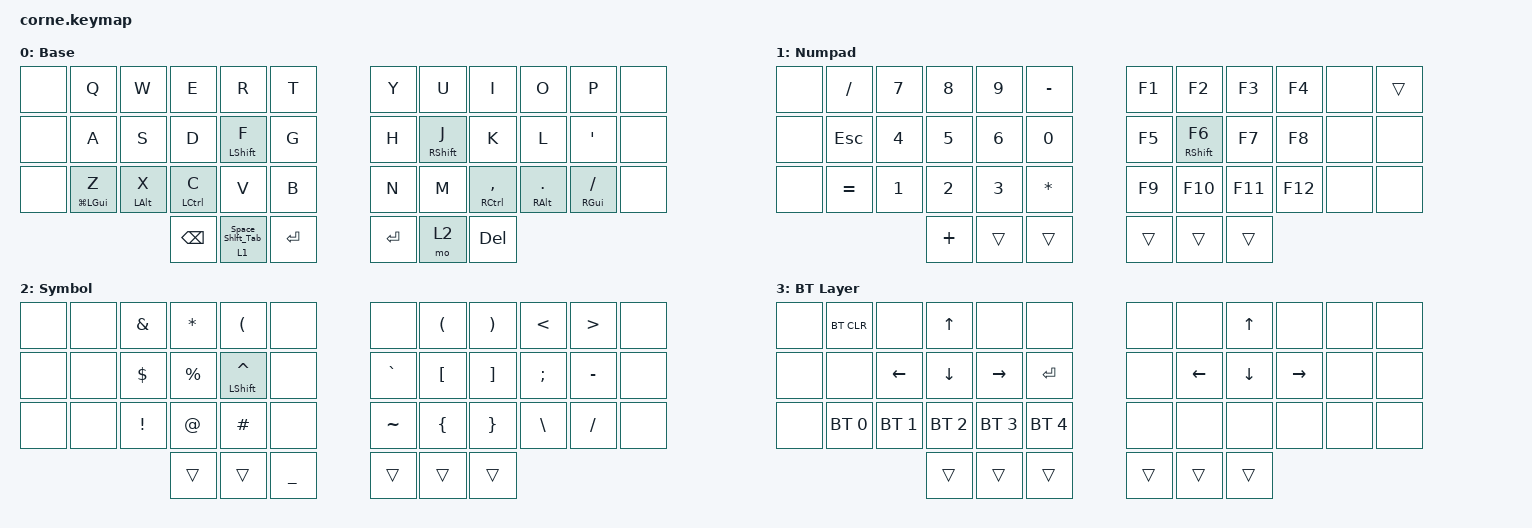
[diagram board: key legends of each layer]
/*
 * Copyright (c) 2020 The ZMK Contributors
 *
 * SPDX-License-Identifier: MIT
 */

#include <behaviors.dtsi>
#include <dt-bindings/zmk/bt.h>
#include <dt-bindings/zmk/keys.h>

/ {
    behaviors {
        sk_hold: sk_hold {
            compatible = "zmk,behavior-hold-tap";
            label = "SK_HOLD";
            bindings = <&sk>, <&kp>;

            #binding-cells = <2>;
            hold-trigger-key-positions = <36 37 40 41 39 24 12 0 35 23 11 38 1 2 3 4 5 6 7 8 9 10 11 13 14 15 16 17 18 19 20 21 22 23 25 26 27 28 29 30 31 32 33 34 35 36 37 38 39 40 41>;
            tapping-term-ms = <250>;
            flavor = "tap-preferred";
        };

        kp_layer_hold: kp_layer_hold {
            compatible = "zmk,behavior-hold-tap";
            label = "KP_LAYER_HOLD";
            bindings = <&mo>, <&Space_Shlft_Tab>;

            #binding-cells = <2>;
            hold-trigger-key-positions = <36 37 40 41 39 24 12 0 35 23 11 38 1 2 3 4 5 6 7 8 9 10 11 13 14 15 16 17 18 19 20 21 22 23 25 26 27 28 29 30 31 32 33 34 35 36 37 38 39 40 41>;
            tapping-term-ms = <250>;
        };

        Space_Shlft_Tab: Space_Shlft_Tab {
            compatible = "zmk,behavior-mod-morph";
            label = "SPACE_SHLFT_TAB";
            bindings = <&kp SPACE>, <&kp TAB>;

            #binding-cells = <0>;
            mods = <(MOD_LSFT)>;
        };
    };

    combos {
        compatible = "zmk,combos";

        Base {
            bindings = <&to 0>;
            key-positions = <16 37>;
        };

        Numpad {
            bindings = <&to 1>;
            key-positions = <15 37>;
        };

        Layer_2 {
            bindings = <&to 2>;
            key-positions = <14 37>;
        };

        Layer_3 {
            bindings = <&to 3>;
            key-positions = <13 37>;
        };
    };

    keymap {
        compatible = "zmk,keymap";

        base {
            // -----------------------------------------------------------------------------------------
            // |  TAB |  Q  |  W  |  E  |  R  |  T  |   |  Y  |  U   |  I  |  O  |  P  | BKSP |
            // | CTRL |  A  |  S  |  D  |  F  |  G  |   |  H  |  J   |  K  |  L  |  ;  |  '   |
            // | SHFT |  Z  |  X  |  C  |  V  |  B  |   |  N  |  M   |  ,  |  .  |  /  | ESC  |
            //                    | GUI | LWR | SPC |   | ENT | RSE  | ALT |

            bindings = <
&none  &kp Q                    &kp W                &kp E                    &kp R                  &kp T        &kp Y      &kp U                   &kp I                         &kp O                      &kp P                     &none
&none  &kp A                    &kp S                &kp D                    &sk_hold LEFT_SHIFT F  &kp G        &kp H      &sk_hold RIGHT_SHIFT J  &kp K                         &kp L                      &kp SQT                   &none
&none  &sk_hold LG(LEFT_GUI) Z  &sk_hold LEFT_ALT X  &sk_hold LEFT_CONTROL C  &kp V                  &kp B        &kp N      &kp M                   &sk_hold RIGHT_CONTROL COMMA  &sk_hold RIGHT_ALT PERIOD  &sk_hold RIGHT_GUI SLASH  &none
                                                     &kp BACKSPACE            &kp_layer_hold 1 0     &kp ENTER    &kp ENTER  &mo 2                   &kp DEL
            >;

            label = "Base";
        };

        Numpad {
            bindings = <
&none  &kp SLASH   &kp N7        &kp N8    &kp N9  &kp MINUS       &kp F1  &kp F2                   &kp F3   &kp F4   &none  &trans
&none  &kp ESCAPE  &kp N4        &kp N5    &kp N6  &kp N0          &kp F5  &sk_hold RIGHT_SHIFT F6  &kp F7   &kp F8   &none  &none
&none  &kp EQUAL   &kp NUMBER_1  &kp N2    &kp N3  &kp ASTERISK    &kp F9  &kp F10                  &kp F11  &kp F12  &none  &none
                                 &kp PLUS  &trans  &trans          &trans  &trans                   &trans
            >;

            label = "Numpad";
        };

        Symbol {
            // -----------------------------------------------------------------------------------------
            // |  TAB |  !  |  @  |  #  |  $  |  %  |   |  ^  |  &  |  *  |  (  |  )  | BKSP |
            // | CTRL |     |     |     |     |     |   |  -  |  =  |  [  |  ]  |  \  |  `   |
            // | SHFT |     |     |     |     |     |   |  _  |  +  |  {  |  }  | "|" |  ~   |
            //                    | GUI |     | SPC |   | ENT |     | ALT |

            bindings = <
&none  &none  &kp AMPS    &kp ASTERISK  &kp LEFT_PARENTHESIS  &none        &none      &kp LEFT_PARENTHESIS  &kp RIGHT_PARENTHESIS  &kp LESS_THAN  &kp GREATER_THAN  &none
&none  &none  &kp DOLLAR  &kp PERCENT   &sk_hold LSHFT CARET  &none        &kp GRAVE  &kp LEFT_BRACKET      &kp RIGHT_BRACKET      &kp SEMI       &kp MINUS         &none
&none  &none  &kp EXCL    &kp AT        &kp HASH              &none        &kp TILDE  &kp LEFT_BRACE        &kp RIGHT_BRACE        &kp BACKSLASH  &kp SLASH         &none
                          &trans        &trans                &kp UNDER    &trans     &trans                &trans
            >;

            label = "Symbol";
        };

        Bluetooth {
            // -----------------------------------------------------------------------------------------
            // |  TAB |  1  |  2  |  3  |  4  |  5  |   |  6  |  7  |  8  |  9  |  0  | BKSP |
            // | BTCLR| BT1 | BT2 | BT3 | BT4 | BT5 |   | LFT | DWN |  UP | RGT |     |      |
            // | SHFT |     |     |     |     |     |   |     |     |     |     |     |      |
            //                    | GUI |     | SPC |   | ENT |     | ALT |

            bindings = <
&none  &bt BT_CLR    &none         &kp UP_ARROW    &none         &none           &none   &none     &kp UP_ARROW  &none      &none  &none
&none  &none         &kp LEFT      &kp DOWN_ARROW  &kp RIGHT     &kp ENTER       &none   &kp LEFT  &kp DOWN      &kp RIGHT  &none  &none
&none  &bt BT_SEL 0  &bt BT_SEL 1  &bt BT_SEL 2    &bt BT_SEL 3  &bt BT_SEL 4    &none   &none     &none         &none      &none  &none
                                   &trans          &trans        &trans          &trans  &trans    &trans
            >;

            label = "BT Layer";
        };
    };
};
